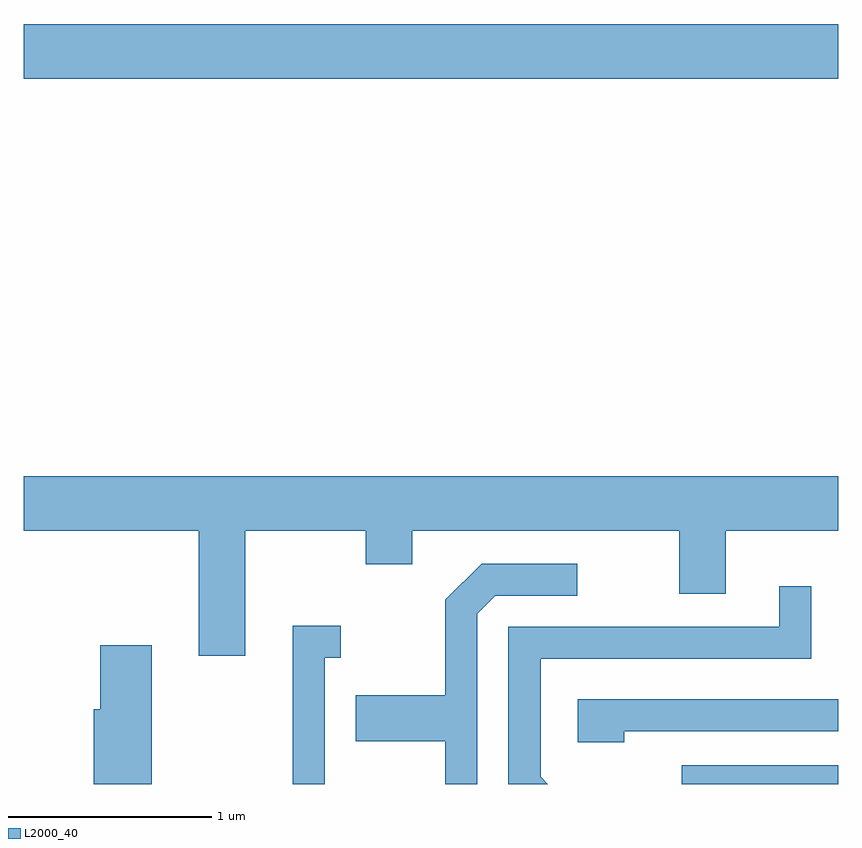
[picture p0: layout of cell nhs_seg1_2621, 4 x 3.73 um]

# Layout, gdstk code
import gdstk
lib = gdstk.Library(unit=1e-6, precision=1e-09)
def R(c, l, rs):  # rectangles x0, y0, x1, y1
    for r in rs: c.add(gdstk.rectangle(r[:2], r[2:], *l))
def P(c, l, *ps):  # polygons
    for p in ps: c.add(gdstk.Polygon(p, *l))
L2000_40 = (2000, 40)

nhs_seg1_2621 = lib.new_cell('nhs_seg1_2621')
R(nhs_seg1_2621, L2000_40, [(268.843,851.712,269.611,851.804), (265.611,855.176,269.611,855.444)])
P(nhs_seg1_2621, L2000_40, [(266.699,852.956),(267.291,852.956),(267.291,852.791),(267.519,852.791),(267.519,852.956),(268.831,852.956),(268.831,852.646),(269.059,852.646),(269.059,852.956),(269.611,852.956),(269.611,853.224),(265.611,853.224),(265.611,852.956),(266.471,852.956),(266.471,852.341),(266.699,852.341)],
  [(267.839,852.549),(267.927,852.636),(268.328,852.636),(268.328,852.794),(267.859,852.794),(267.681,852.617),(267.681,852.149),(267.241,852.149),(267.241,851.921),(267.681,851.921),(267.681,851.712),(267.839,851.712)],
  [(268.149,851.747),(268.149,852.326),(269.479,852.326),(269.479,852.683),(269.321,852.683),(269.321,852.484),(267.991,852.484),(267.991,851.712),(268.184,851.712)],
  [(267.089,852.331),(267.168,852.331),(267.168,852.489),(266.931,852.489),(266.931,851.712),(267.089,851.712)],
  [(266.239,852.394),(265.986,852.394),(265.986,852.079),(265.956,852.079),(265.956,851.712),(266.239,851.712)],
  [(268.559,851.971),(269.611,851.971),(269.611,852.129),(268.331,852.129),(268.331,851.916),(268.559,851.916)])

lib.write_gds('nhs_seg1_2621.gds')
